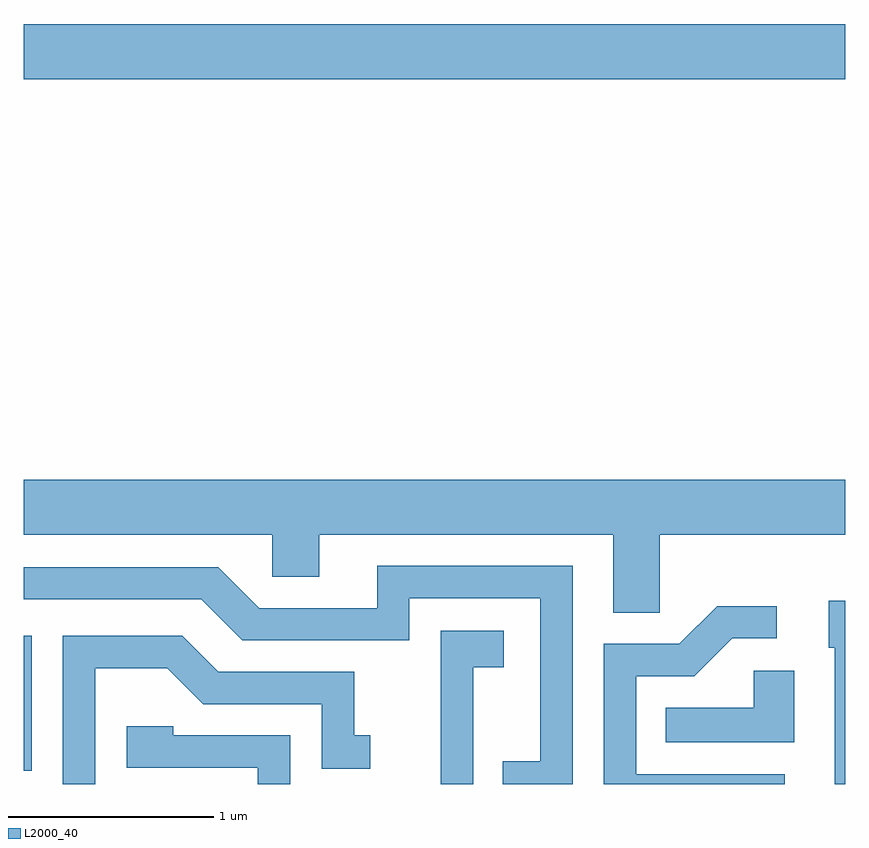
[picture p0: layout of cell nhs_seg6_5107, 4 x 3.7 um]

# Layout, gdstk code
import gdstk
lib = gdstk.Library(unit=1e-6, precision=1e-09)
def R(c, l, rs):  # rectangles x0, y0, x1, y1
    for r in rs: c.add(gdstk.rectangle(r[:2], r[2:], *l))
def P(c, l, *ps):  # polygons
    for p in ps: c.add(gdstk.Polygon(p, *l))
L2000_40 = (2000, 40)

nhs_seg6_5107 = lib.new_cell('nhs_seg6_5107')
R(nhs_seg6_5107, L2000_40, [(341.611,1542.226,341.649,1542.884), (341.611,1545.596,345.611,1545.864)])
P(nhs_seg6_5107, L2000_40, [(344.709,1543.376),(345.611,1543.376),(345.611,1543.644),(341.611,1543.644),(341.611,1543.376),(342.821,1543.376),(342.821,1543.171),(343.049,1543.171),(343.049,1543.376),(344.481,1543.376),(344.481,1542.996),(344.709,1542.996)],
  [(344.284,1543.224),(343.331,1543.224),(343.331,1543.019),(342.757,1543.019),(342.557,1543.219),(341.611,1543.219),(341.611,1543.061),(342.474,1543.061),(342.674,1542.861),(343.489,1542.861),(343.489,1543.066),(344.126,1543.066),(344.126,1542.274),(343.943,1542.274),(343.943,1542.162),(344.284,1542.162)],
  [(345.611,1543.054),(345.531,1543.054),(345.531,1542.826),(345.561,1542.826),(345.561,1542.162),(345.611,1542.162)],
  [(345.318,1542.209),(344.594,1542.209),(344.594,1542.686),(344.877,1542.686),(345.062,1542.871),(345.278,1542.871),(345.278,1543.029),(344.989,1543.029),(344.804,1542.844),(344.436,1542.844),(344.436,1542.162),(345.318,1542.162)],
  [(343.799,1542.731),(343.949,1542.731),(343.949,1542.909),(343.641,1542.909),(343.641,1542.162),(343.799,1542.162)],
  [(341.959,1542.726),(342.309,1542.726),(342.484,1542.551),(343.061,1542.551),(343.061,1542.236),(343.298,1542.236),(343.298,1542.399),(343.219,1542.399),(343.219,1542.709),(342.557,1542.709),(342.382,1542.884),(341.801,1542.884),(341.801,1542.162),(341.959,1542.162)],
  [(345.364,1542.714),(345.166,1542.714),(345.166,1542.534),(344.738,1542.534),(344.738,1542.366),(345.364,1542.366)],
  [(342.909,1542.399),(342.339,1542.399),(342.339,1542.444),(342.111,1542.444),(342.111,1542.241),(342.751,1542.241),(342.751,1542.162),(342.909,1542.162)])

lib.write_gds('nhs_seg6_5107.gds')
